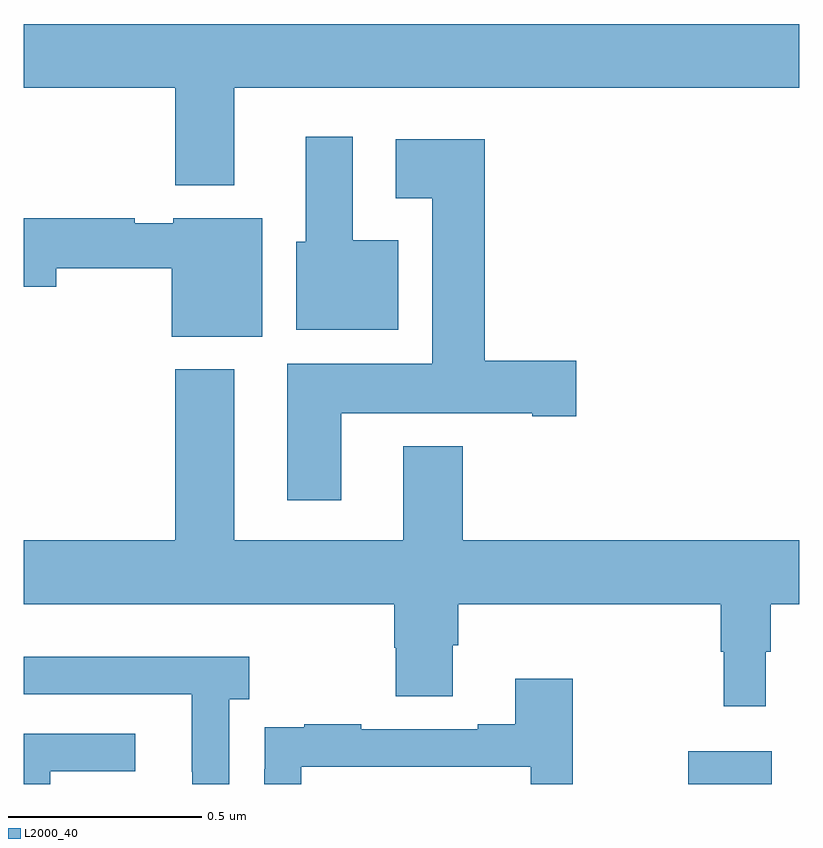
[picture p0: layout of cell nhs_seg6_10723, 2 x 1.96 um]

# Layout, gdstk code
import gdstk
lib = gdstk.Library(unit=1e-6, precision=1e-09)
def R(c, l, rs):  # rectangles x0, y0, x1, y1
    for r in rs: c.add(gdstk.rectangle(r[:2], r[2:], *l))
def P(c, l, *ps):  # polygons
    for p in ps: c.add(gdstk.Polygon(p, *l))
L2000_40 = (2000, 40)

nhs_seg6_10723 = lib.new_cell('nhs_seg6_10723')
R(nhs_seg6_10723, L2000_40, [(251.714,985.5,251.929,985.585)])
P(nhs_seg6_10723, L2000_40, [(250.543,987.296),(252,987.296),(252,987.46),(250,987.46),(250,987.296),(250.391,987.296),(250.391,987.044),(250.543,987.044)],
  [(250.966,986.902),(250.849,986.902),(250.849,987.169),(250.727,987.169),(250.727,986.898),(250.703,986.898),(250.703,986.672),(250.966,986.672)],
  [(250.819,986.456),(251.312,986.456),(251.312,986.449),(251.425,986.449),(251.425,986.591),(251.189,986.591),(251.189,987.163),(250.959,987.163),(250.959,987.011),(251.054,987.011),(251.054,986.584),(250.679,986.584),(250.679,986.232),(250.819,986.232)],
  [(250.615,986.959),(250.386,986.959),(250.386,986.946),(250.286,986.946),(250.286,986.959),(250,986.959),(250,986.783),(250.084,986.783),(250.084,986.83),(250.382,986.83),(250.382,986.654),(250.615,986.654)],
  [(251.914,985.841),(251.926,985.841),(251.926,985.964),(252,985.964),(252,986.128),(251.132,986.128),(251.132,986.371),(250.979,986.371),(250.979,986.128),(250.543,986.128),(250.543,986.569),(250.391,986.569),(250.391,986.128),(250,986.128),(250,985.964),(250.955,985.964),(250.955,985.851),(250.96,985.851),(250.96,985.726),(251.107,985.726),(251.107,985.858),(251.12,985.858),(251.12,985.964),(251.797,985.964),(251.797,985.841),(251.805,985.841),(251.805,985.701),(251.914,985.701)],
  [(250.53,985.718),(250.582,985.718),(250.582,985.828),(250,985.828),(250,985.731),(250.433,985.731),(250.433,985.531),(250.434,985.531),(250.434,985.5),(250.53,985.5)],
  [(250.716,985.545),(251.307,985.545),(251.307,985.5),(251.416,985.5),(251.416,985.771),(251.267,985.771),(251.267,985.654),(251.171,985.654),(251.171,985.641),(250.871,985.641),(250.871,985.654),(250.723,985.654),(250.723,985.647),(250.621,985.647),(250.621,985.538),(250.62,985.538),(250.62,985.5),(250.716,985.5)],
  [(250.068,985.533),(250.288,985.533),(250.288,985.629),(250,985.629),(250,985.5),(250.068,985.5)])

lib.write_gds('nhs_seg6_10723.gds')
